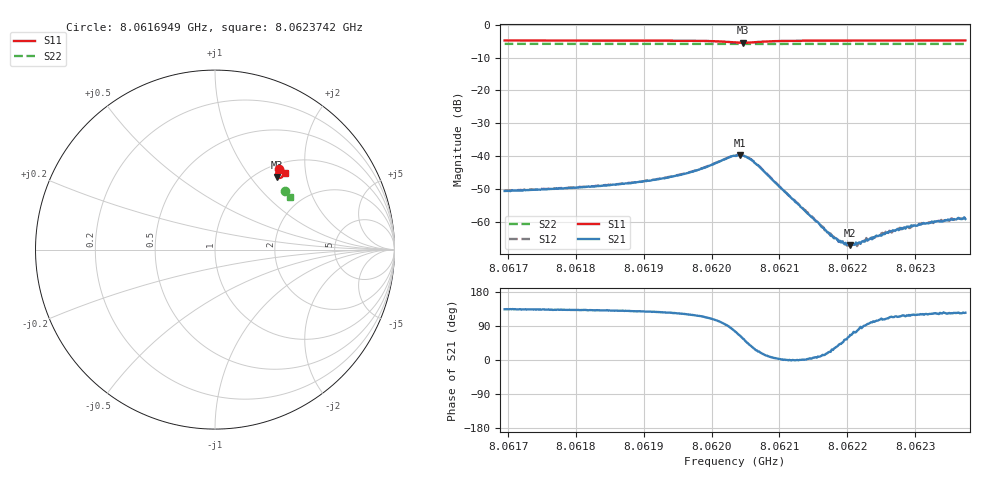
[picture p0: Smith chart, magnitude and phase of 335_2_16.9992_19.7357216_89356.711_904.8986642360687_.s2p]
#  HZ  S  RI  R  50.00
! Rohde & Schwarz Vector Network Analyzer
! Rohde-Schwarz,ZNB20-2Port,1311601062101988,3.16
! Created: UTC 3/20/2024, 11:07:05 PM
! freq[Hz]  re:S11  im:S11  re:S21  im:S21  re:S12  im:S12  re:S22  im:S22
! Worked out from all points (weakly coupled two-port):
!   401 points, 8.0616949 GHz to 8.0623742 GHz, reference 50 ohm
!   highest |S21| = -39.64 dB at 8.0620413 GHz (marker M1); lowest = -67.2 dB at 8.0622044 GHz (marker M2)
!   lowest |S11| = -5.5 dB at 8.0620464 GHz (marker M3), VSWR 3.28, Z = 60.8 + j68.5 ohm
!   |S11| at or under -10 dB: nowhere
!   |S22| runs from -5.9 to -5.8 dB; largest |S21 - S12| = 0.00075
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8.06169486e9  0.3583 0.4511  -0.00205 0.00213  -0.00194 0.00226  0.3911 0.3289
8.06180865e9  0.3659 0.4444  -0.00226 0.00253  -0.00211 0.00266  0.3955 0.3233
8.06187997e9  0.3712 0.4391  -0.00245 0.00301  -0.0023 0.00318  0.3982 0.3196
8.06192243e9  0.3746 0.4348  -0.00267 0.00361  -0.00246 0.00376  0.3999 0.3175
8.06197338e9  0.3791 0.4258  -0.00281 0.00518  -0.00253 0.00539  0.4018 0.3146
8.06203452e9  0.3614 0.3992  0.00248 0.0098  0.00315 0.00972  0.4027 0.3108
8.06204131e9  0.3531 0.4003  0.0044 0.00945  0.00505 0.0091  0.4025 0.3108
8.06204641e9  0.3471 0.4034  0.00567 0.00848  0.00626 0.00802  0.4024 0.3107
8.0620549e9  0.3407 0.4123  0.00699 0.0062  0.00747 0.00572  0.4026 0.3109
8.06206849e9  0.341 0.427  0.00673 0.00277  0.00686 0.00242  0.4033 0.3109
8.06214831e9  0.3685 0.4384  0.00116 9.09e-05  0.0012 4.29e-05  0.4076 0.3071
8.06217038e9  0.3718 0.4371  0.000662 0.00021  0.000702 0.000166  0.4084 0.306
8.06217888e9  0.373 0.4364  0.000526 0.000261  0.000556 0.000225  0.4087 0.3057
8.06218907e9  0.3742 0.4357  0.000383 0.000349  0.00039 0.000308  0.4091 0.3051
8.06220095e9  0.3756 0.435  0.000231 0.000397  0.00023 0.000371  0.4094 0.3044
8.06220435e9  0.376 0.4349  0.000177 0.000401  0.000226 0.000363  0.4097 0.3043
8.06221794e9  0.3773 0.434  5.77e-05 0.000483  9.83e-05 0.000474  0.4103 0.3035
8.0622536e9  0.3806 0.4318  -0.000194 0.000632  -0.000151 0.000632  0.4116 0.3017
8.06226209e9  0.3812 0.4314  -0.000272 0.000663  -0.000205 0.000704  0.4118 0.3013
8.06231304e9  0.3851 0.4284  -0.000471 0.000832  -0.000408 0.000875  0.4136 0.2987
8.06236059e9  0.3882 0.4257  -0.000608 0.000899  -0.000573 0.000913  0.4153 0.2964
8.06237418e9  0.3891 0.4251  -0.00063 0.000911  -0.000625 0.000945  0.4156 0.2955
